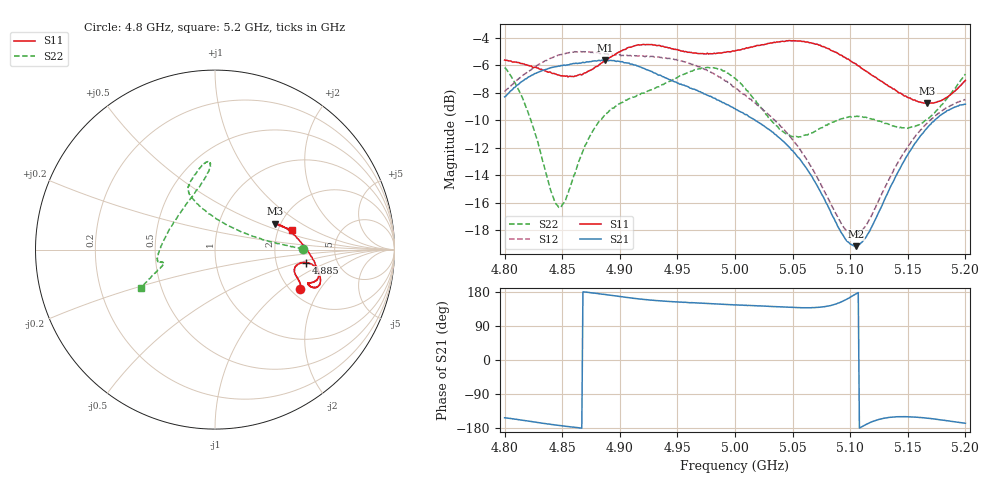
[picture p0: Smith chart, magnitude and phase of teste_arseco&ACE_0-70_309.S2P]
! Network Analyzer HP8722D
! Hewlett-Packard
! Data name: Linha & Wilkinson
! Saver's name: Rodrigo Anjos
! Comments: Teste da utilização de aquisição
! continua pelo VNA HP8722D
! Time and date: 8/5/2025 15:20
!  Frequency  S11  S21  S12  S22
# HZ  S  MA R 50
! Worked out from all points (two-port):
!   401 points, 4.8 GHz to 5.2 GHz, reference 50 ohm
!   highest |S21| = -5.64 dB at 4.887 GHz (marker M1); lowest = -19.2 dB at 5.105 GHz (marker M2)
!   |S21| within 3 dB of the highest: start of sweep to 4.988 GHz
!   lowest |S11| = -8.8 dB at 5.167 GHz (marker M3), VSWR 2.14, Z = 93.4 + j31 ohm
!   |S11| at or under -10 dB: nowhere
!   |S22| runs from -16.4 to -6.2 dB; largest |S21 - S12| = 1.1
!   S11 on the Smith chart (normalised r, x): 4.8 GHz: 2.24, -1.35; 4.885 GHz: 2.98, -0.59; 5.2 GHz: 2.36, +0.65
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4.8e9  0.523 -24.8  0.3844 -152.5  0.4012 7.1  0.4913 0.5
4.818e9  0.5028 -20.9  0.4466 -160.1  0.467 4.2  0.3581 5.3
4.84e9  0.4719 -17.5  0.4904 -169.8  0.5309 0.8  0.1754 34.7
4.846e9  0.462 -16.2  0.4961 -172.3  0.5439 -0.4  0.1544 55.6
4.853e9  0.4567 -14.4  0.5002 -175.0  0.5526 -1.5  0.1621 80.7
4.867e9  0.4617 -10.7  0.5113 -179.8  0.5603 -3.4  0.2381 106.8
4.885e9  0.5129 -8.1  0.5219 173.7  0.5513 -4.4  0.3225 114.2
4.887e9  0.521 -8.0  0.5224 172.9  0.5512 -4.4  0.3303 114.4
4.914e9  0.5912 -12.5  0.5011 162.1  0.5419 -3.5  0.386 112.1
4.934e9  0.5922 -16.9  0.4606 156.3  0.5365 -4.4  0.4183 107.0
4.973e9  0.5508 -20.0  0.3936 149.5  0.4853 -7.9  0.491 95.5
5e9  0.5653 -21.0  0.3483 145.3  0.4168 -7.8  0.4495 93.9
5.041e9  0.6124 -19.2  0.2668 139.9  0.2971 0.0  0.2884 128.3
5.067e9  0.602 -14.1  0.1964 138.3  0.211 8.4  0.284 165.3
5.094e9  0.5374 -4.2  0.12 155.9  0.1293 35.4  0.3206 -173.3
5.105e9  0.5064 1.0  0.1099 174.6  0.121 56.9  0.3262 -169.7
5.115e9  0.4734 6.2  0.1212 -168.2  0.1335 75.5  0.3217 -167.9
5.134e9  0.4185 15.7  0.1768 -151.4  0.1937 94.0  0.3047 -166.6
5.15e9  0.3821 21.5  0.2366 -149.8  0.2529 98.4  0.2951 -165.1
5.167e9  0.3634 23.4  0.2966 -153.6  0.3092 99.1  0.3191 -161.9
5.183e9  0.3807 20.7  0.3387 -159.7  0.3495 99.0  0.3736 -157.6
5.2e9  0.441 14.5  0.3612 -167.0  0.3763 99.6  0.4655 -152.5
